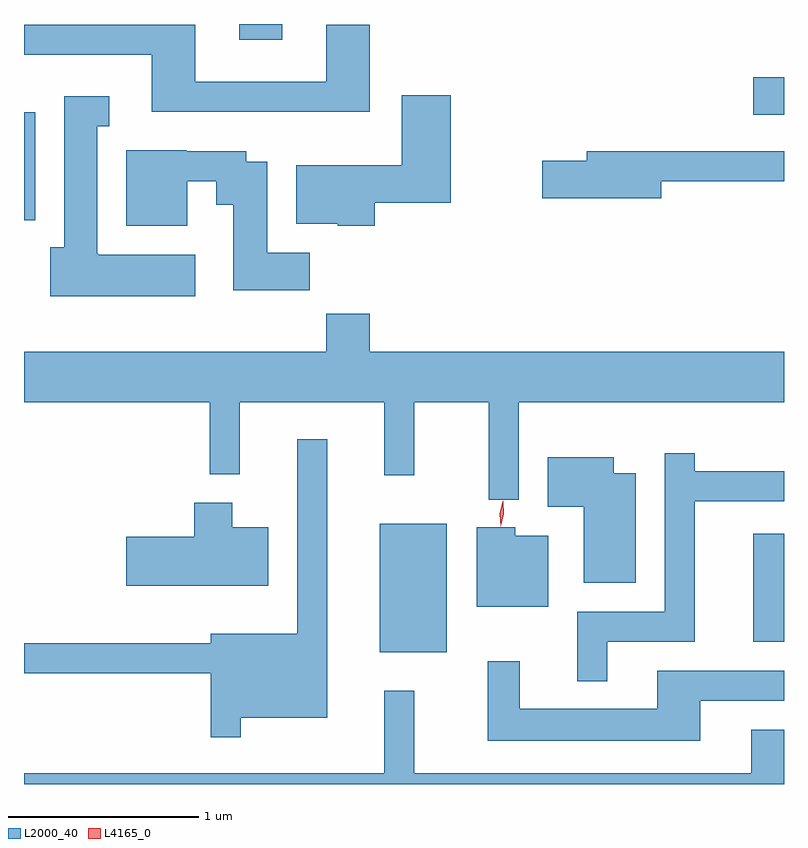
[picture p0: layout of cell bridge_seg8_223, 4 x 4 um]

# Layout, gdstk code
import gdstk
lib = gdstk.Library(unit=1e-6, precision=1e-09)
def R(c, l, rs):  # rectangles x0, y0, x1, y1
    for r in rs: c.add(gdstk.rectangle(r[:2], r[2:], *l))
def P(c, l, *ps):  # polygons
    for p in ps: c.add(gdstk.Polygon(p, *l))
L2000_40 = (2000, 40)
L4165_0 = (4165, 0)

bridge_seg8_223 = lib.new_cell('bridge_seg8_223')
R(bridge_seg8_223, L2000_40, [(1047.651,1919.461,1048.004,1920.139), (1049.616,1919.516,1049.779,1920.084), (1045.779,1921.736,1045.839,1922.304), (1049.616,1922.291,1049.779,1922.489), (1046.911,1922.686,1047.139,1922.768)])
P(bridge_seg8_223, L2000_40, [(1047.599,1922.764),(1047.371,1922.764),(1047.371,1922.464),(1046.679,1922.464),(1046.679,1922.764),(1045.779,1922.764),(1045.779,1922.606),(1046.451,1922.606),(1046.451,1922.306),(1047.599,1922.306)],
  [(1047.624,1921.826),(1048.024,1921.826),(1048.024,1922.394),(1047.766,1922.394),(1047.766,1922.024),(1047.211,1922.024),(1047.211,1921.716),(1047.43,1921.716),(1047.43,1921.706),(1047.624,1921.706)],
  [(1046.679,1921.554),(1046.17,1921.554),(1046.17,1921.56),(1046.164,1921.56),(1046.164,1922.231),(1046.228,1922.231),(1046.228,1922.389),(1045.991,1922.389),(1045.991,1921.594),(1045.916,1921.594),(1045.916,1921.336),(1046.679,1921.336)],
  [(1047.284,1921.564),(1047.059,1921.564),(1047.059,1922.044),(1046.949,1922.044),(1046.949,1922.099),(1046.635,1922.099),(1046.635,1922.104),(1046.316,1922.104),(1046.316,1921.706),(1046.639,1921.706),(1046.639,1921.941),(1046.791,1921.941),(1046.791,1921.816),(1046.881,1921.816),(1046.881,1921.366),(1047.284,1921.366)],
  [(1049.134,1921.941),(1049.779,1921.941),(1049.779,1922.099),(1048.741,1922.099),(1048.741,1922.049),(1048.506,1922.049),(1048.506,1921.851),(1049.134,1921.851)],
  [(1048.384,1920.776),(1049.779,1920.776),(1049.779,1921.044),(1047.599,1921.044),(1047.599,1921.244),(1047.371,1921.244),(1047.371,1921.044),(1045.779,1921.044),(1045.779,1920.776),(1046.756,1920.776),(1046.756,1920.398),(1046.914,1920.398),(1046.914,1920.776),(1047.676,1920.776),(1047.676,1920.393),(1047.834,1920.393),(1047.834,1920.776),(1048.226,1920.776),(1048.226,1920.263),(1048.384,1920.263)],
  [(1046.919,1919.116),(1047.374,1919.116),(1047.374,1920.583),(1047.216,1920.583),(1047.216,1919.559),(1046.761,1919.559),(1046.761,1919.509),(1045.779,1919.509),(1045.779,1919.351),(1046.761,1919.351),(1046.761,1919.013),(1046.919,1919.013)],
  [(1048.849,1919.516),(1049.309,1919.516),(1049.309,1920.256),(1049.779,1920.256),(1049.779,1920.414),(1049.309,1920.414),(1049.309,1920.508),(1049.151,1920.508),(1049.151,1919.674),(1048.691,1919.674),(1048.691,1919.308),(1048.849,1919.308)],
  [(1048.999,1920.404),(1048.884,1920.404),(1048.884,1920.489),(1048.536,1920.489),(1048.536,1920.226),(1048.726,1920.226),(1048.726,1919.826),(1048.999,1919.826)],
  [(1047.064,1920.119),(1046.874,1920.119),(1046.874,1920.249),(1046.676,1920.249),(1046.676,1920.069),(1046.316,1920.069),(1046.316,1919.811),(1047.064,1919.811)],
  [(1048.539,1920.074),(1048.364,1920.074),(1048.364,1920.119),(1048.161,1920.119),(1048.161,1919.701),(1048.539,1919.701)],
  [(1049.339,1919.206),(1049.779,1919.206),(1049.779,1919.364),(1049.111,1919.364),(1049.111,1919.164),(1048.389,1919.164),(1048.389,1919.413),(1048.221,1919.413),(1048.221,1918.996),(1049.339,1918.996)],
  [(1049.779,1919.054),(1049.606,1919.054),(1049.606,1918.824),(1047.834,1918.824),(1047.834,1919.258),(1047.676,1919.258),(1047.676,1918.824),(1045.779,1918.824),(1045.779,1918.768),(1049.779,1918.768)])
P(bridge_seg8_223, L4165_0, [(1048.287,1920.124),(1048.287,1920.124),(1048.284,1920.191),(1048.3,1920.256),(1048.3,1920.257),(1048.301,1920.256),(1048.304,1920.189),(1048.288,1920.124)])

lib.write_gds('bridge_seg8_223.gds')
